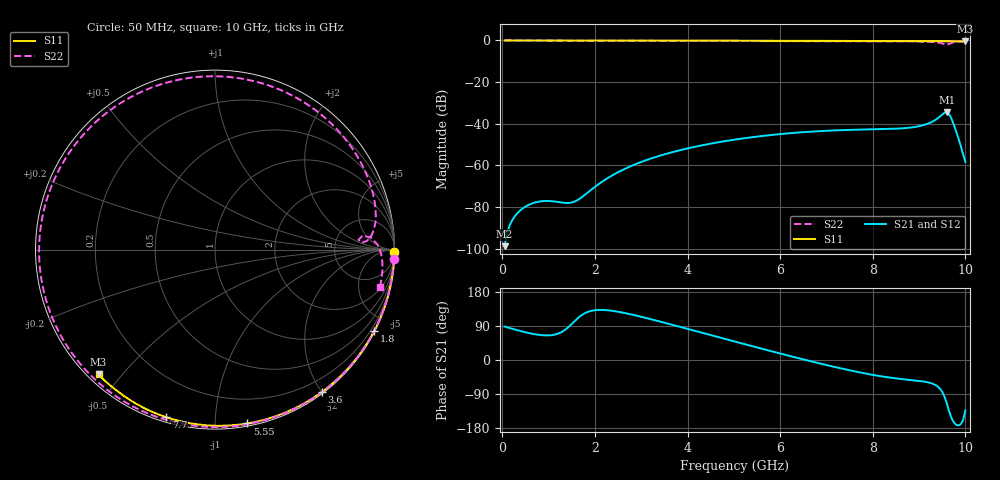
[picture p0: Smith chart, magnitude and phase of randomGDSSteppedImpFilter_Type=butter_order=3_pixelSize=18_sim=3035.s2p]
! freq	dB(S11)	phase(S11)	dB(S12)	phase(S12)
!  dB(S21)	phase(S21)	dB(S22)	phase(S22)
!S-par simulation data
#  GHz  S  DB  R 50
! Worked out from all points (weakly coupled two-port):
!   200 points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, 50 MHz to 10 GHz, reference 50 ohm
!   highest |S21| = -34.45 dB at 9.6 GHz (marker M1); lowest = -98.8 dB at 50 MHz (marker M2)
!   lowest |S11| = -0.4 dB at 10 GHz (marker M3), VSWR 39.27, Z = 1.51 - j21.7 ohm
!   |S11| at or under -10 dB: nowhere
!   |S22| runs from -1.9 to 0.0 dB; largest |S21 - S12| = 0
!   S11 on the Smith chart (normalised r, x): 50 MHz: open; 1.8 GHz: 0.04, -4.13; 3.6 GHz: 0.02, -2.00; 5.55 GHz: 0.02, -1.20; 7.7 GHz: 0.02, -0.75; 10 GHz: 0.03, -0.43
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0.05  -0.00 -0.8  -98.76 88.2  -98.76 88.2  -0.00 -2.9
0.45  -0.01 -6.9  -80.49 74.7  -80.49 74.7  -0.03 -25.4
0.95  -0.02 -14.5  -77.05 64.9  -77.05 64.9  -0.06 -52.2
1.45  -0.03 -22.0  -78.00 89.3  -78.00 89.3  -0.09 -77.0
1.75  -0.03 -26.5  -74.67 121.2  -74.67 121.2  -0.10 -90.7
1.8  -0.03 -27.2  -73.79 124.5  -73.79 124.5  -0.10 -92.9
2.5  -0.05 -37.5  -63.25 127.3  -63.25 127.3  -0.12 -121.3
3.4  -0.07 -50.4  -55.34 101.7  -55.34 101.7  -0.15 -152.8
3.6  -0.07 -53.2  -54.06 95.2  -54.06 95.2  -0.15 -159.2
4.3  -0.09 -62.9  -50.39 72.3  -50.39 72.3  -0.18 179.2
5.05  -0.11 -72.9  -47.51 47.7  -47.51 47.7  -0.20 157.0
5.55  -0.13 -79.5  -46.03 31.5  -46.03 31.5  -0.23 142.3
6.7  -0.18 -94.0  -43.74 -4.5  -43.74 -4.5  -0.28 107.4
7.2  -0.21 -100.2  -43.17 -19.0  -43.17 -19.0  -0.30 91.2
7.7  -0.24 -106.2  -42.82 -32.2  -42.82 -32.2  -0.33 74.3
8.35  -0.29 -113.9  -42.50 -46.0  -42.50 -46.0  -0.39 50.8
9.15  -0.36 -123.2  -40.26 -57.9  -40.26 -57.9  -0.61 18.6
9.5  -0.39 -127.2  -35.56 -84.1  -35.56 -84.1  -1.42 3.3
9.6  -0.40 -128.3  -34.45 -115.1  -34.45 -115.1  -1.92 3.9
9.65  -0.40 -128.9  -35.41 -135.7  -35.41 -135.7  -1.67 5.4
9.75  -0.41 -130.2  -40.49 -164.7  -40.49 -164.7  -0.86 1.8
10  -0.44 -133.1  -58.32 -133.2  -58.32 -133.2  -0.51 -12.8
